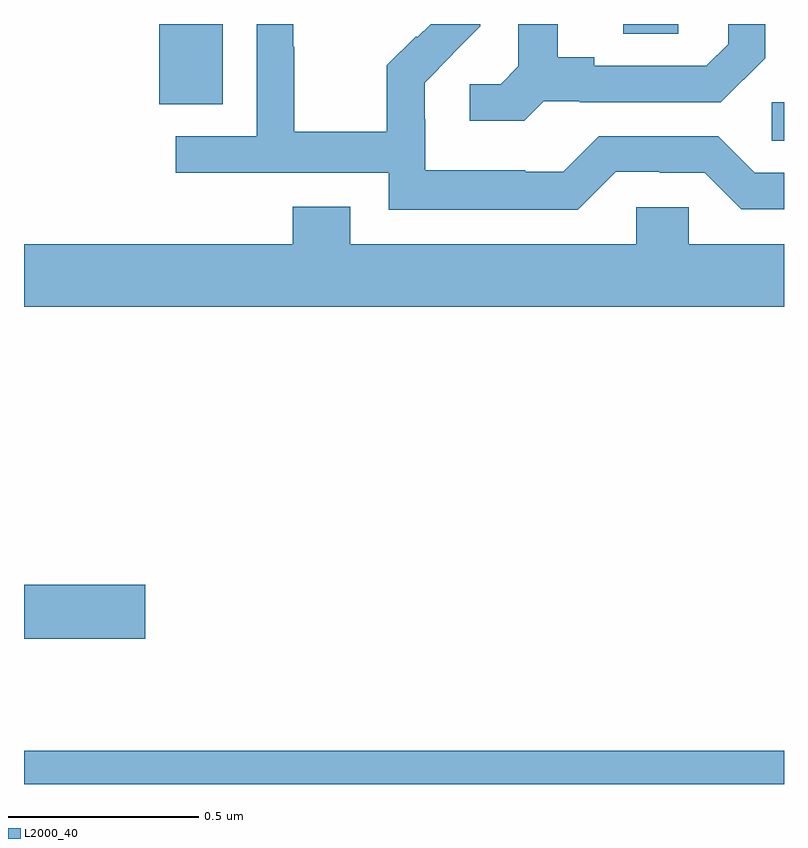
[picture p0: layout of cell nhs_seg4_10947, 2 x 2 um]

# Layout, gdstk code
import gdstk
lib = gdstk.Library(unit=1e-6, precision=1e-09)
def R(c, l, rs):  # rectangles x0, y0, x1, y1
    for r in rs: c.add(gdstk.rectangle(r[:2], r[2:], *l))
def P(c, l, *ps):  # polygons
    for p in ps: c.add(gdstk.Polygon(p, *l))
L2000_40 = (2000, 40)

nhs_seg4_10947 = lib.new_cell('nhs_seg4_10947')
R(nhs_seg4_10947, L2000_40, [(246,792.9,248,792.988), (246,793.282,246.319,793.424), (247.968,794.593,248,794.694), (246.356,794.689,246.523,794.9), (247.577,794.875,247.722,794.9)])
P(nhs_seg4_10947, L2000_40, [(247.557,794.511),(247.673,794.511),(247.673,794.508),(247.791,794.508),(247.887,794.412),(248,794.412),(248,794.508),(247.923,794.508),(247.827,794.604),(247.512,794.604),(247.419,794.511),(247.319,794.511),(247.319,794.515),(247.056,794.515),(247.056,794.649),(247.054,794.649),(247.054,794.746),(247.128,794.82),(247.127,794.821),(247.2,794.894),(247.2,794.9),(247.07,794.9),(247.035,794.865),(247.032,794.868),(246.955,794.791),(246.955,794.617),(246.711,794.617),(246.711,794.84),(246.708,794.84),(246.708,794.9),(246.612,794.9),(246.612,794.604),(246.399,794.604),(246.399,794.508),(246.96,794.508),(246.96,794.411),(247.457,794.411)],
  [(247.368,794.697),(247.462,794.697),(247.462,794.694),(247.834,794.694),(247.95,794.81),(247.95,794.9),(247.853,794.9),(247.853,794.847),(247.796,794.79),(247.501,794.79),(247.501,794.813),(247.405,794.813),(247.405,794.9),(247.301,794.9),(247.301,794.789),(247.254,794.742),(247.173,794.742),(247.173,794.645),(247.316,794.645)],
  [(248,794.32),(247.749,794.32),(247.749,794.418),(247.611,794.418),(247.611,794.32),(246.859,794.32),(246.859,794.419),(246.707,794.419),(246.707,794.32),(246,794.32),(246,794.156),(248,794.156)])

lib.write_gds('nhs_seg4_10947.gds')
